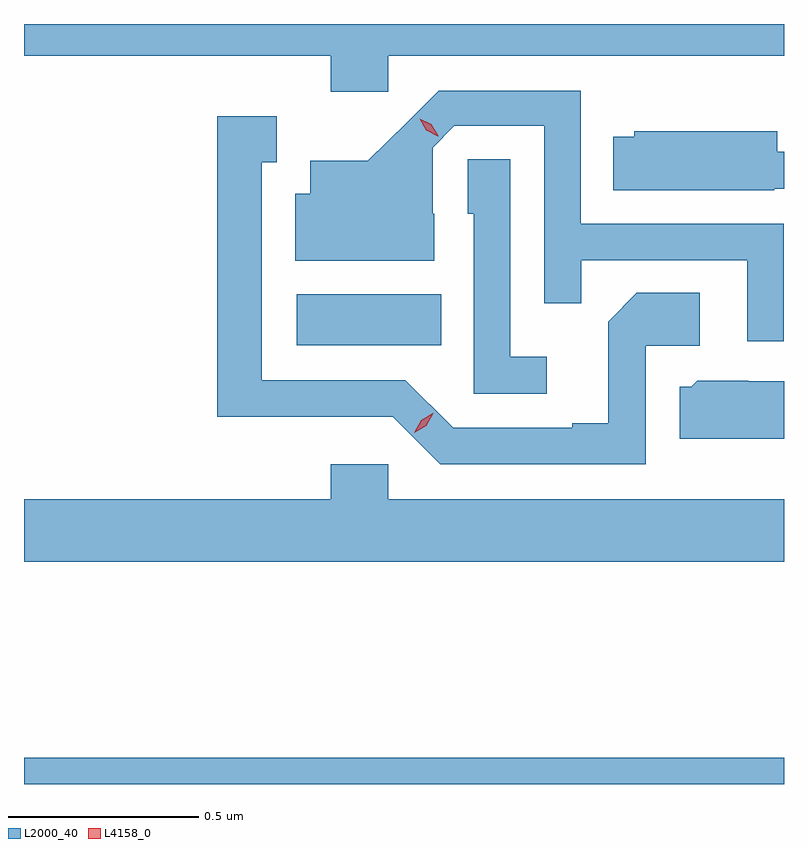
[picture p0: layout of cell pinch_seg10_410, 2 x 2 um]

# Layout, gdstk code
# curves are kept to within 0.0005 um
import gdstk
lib = gdstk.Library(unit=1e-6, precision=1e-09)
def R(c, l, rs):  # rectangles x0, y0, x1, y1
    for r in rs: c.add(gdstk.rectangle(r[:2], r[2:], *l))
def P(c, l, *ps):  # polygons
    for p in ps: c.add(gdstk.Polygon(p, *l))
L2000_40 = (2000, 40)
L4158_0 = (4158, 0)

pinch_seg10_410 = lib.new_cell('pinch_seg10_410')
R(pinch_seg10_410, L2000_40, [(597.086,1255.775,599.086,1255.844), (597.804,1256.93,598.184,1257.064)])
P(pinch_seg10_410, L2000_40, [(598.044,1257.692),(599.086,1257.692),(599.086,1257.775),(597.086,1257.775),(597.086,1257.692),(597.893,1257.692),(597.893,1257.597),(598.044,1257.597)],
  [(599.085,1257.249),(598.551,1257.249),(598.551,1257.6),(598.178,1257.6),(597.991,1257.415),(597.839,1257.415),(597.839,1257.328),(597.8,1257.328),(597.8,1257.152),(598.165,1257.152),(598.165,1257.276),(598.161,1257.276),(598.161,1257.45),(598.218,1257.507),(598.455,1257.507),(598.455,1257.04),(598.553,1257.04),(598.553,1257.153),(598.989,1257.153),(598.989,1256.94),(599.085,1256.94)],
  [(598.722,1256.928),(598.864,1256.928),(598.864,1257.068),(598.699,1257.068),(598.623,1256.992),(598.623,1256.725),(598.529,1256.725),(598.529,1256.712),(598.215,1256.712),(598.089,1256.838),(597.712,1256.838),(597.712,1257.411),(597.751,1257.411),(597.751,1257.532),(597.594,1257.532),(597.594,1256.741),(597.834,1256.741),(597.834,1256.742),(598.056,1256.742),(598.182,1256.616),(598.722,1256.616)],
  [(599.06,1257.342),(599.086,1257.342),(599.086,1257.439),(599.068,1257.439),(599.068,1257.493),(598.692,1257.493),(598.692,1257.478),(598.636,1257.478),(598.636,1257.338),(599.06,1257.338)],
  [(598.462,1256.899),(598.365,1256.899),(598.365,1257.419),(598.254,1257.419),(598.254,1257.276),(598.269,1257.276),(598.269,1256.802),(598.462,1256.802)],
  [(599.086,1256.835),(598.992,1256.835),(598.992,1256.836),(598.858,1256.836),(598.842,1256.82),(598.811,1256.82),(598.811,1256.684),(599.086,1256.684)],
  [(599.086,1256.524),(598.044,1256.524),(598.044,1256.617),(597.893,1256.617),(597.893,1256.524),(597.086,1256.524),(597.086,1256.36),(599.086,1256.36)])
P(pinch_seg10_410, L4158_0, [(598.175,1257.48),(598.145,1257.496),(598.128,1257.526),(598.128,1257.526),(598.128,1257.526),(598.158,1257.511),(598.176,1257.481),(598.176,1257.48)],
  [(598.113,1256.7),(598.113,1256.7),(598.131,1256.732),(598.162,1256.751),(598.163,1256.751),(598.163,1256.751),(598.145,1256.718),(598.113,1256.7)])

lib.write_gds('pinch_seg10_410.gds')
